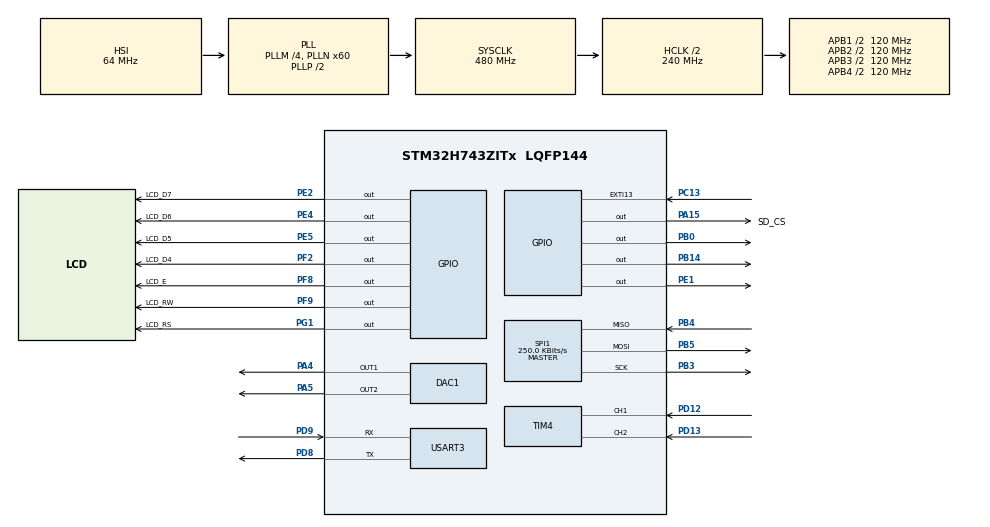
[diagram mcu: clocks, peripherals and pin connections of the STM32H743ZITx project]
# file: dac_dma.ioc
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DAC1.DAC_Channel-DAC_OUT1=DAC_CHANNEL_1
DAC1.DAC_Channel-DAC_OUT2=DAC_CHANNEL_2
DAC1.DAC_Trigger-DAC_OUT1=DAC_TRIGGER_T6_TRGO
DAC1.DAC_Trigger-DAC_OUT2=DAC_TRIGGER_T6_TRGO
Dma.DAC1_CH1.0.Direction=DMA_MEMORY_TO_PERIPH
Dma.DAC1_CH1.0.EventEnable=DISABLE
Dma.DAC1_CH1.0.FIFOMode=DMA_FIFOMODE_DISABLE
Dma.DAC1_CH1.0.Instance=DMA1_Stream0
Dma.DAC1_CH1.0.MemDataAlignment=DMA_MDATAALIGN_HALFWORD
Dma.DAC1_CH1.0.MemInc=DMA_MINC_ENABLE
Dma.DAC1_CH1.0.Mode=DMA_NORMAL
Dma.DAC1_CH1.0.PeriphDataAlignment=DMA_PDATAALIGN_HALFWORD
Dma.DAC1_CH1.0.PeriphInc=DMA_PINC_DISABLE
Dma.DAC1_CH1.0.Polarity=HAL_DMAMUX_REQ_GEN_RISING
Dma.DAC1_CH1.0.Priority=DMA_PRIORITY_VERY_HIGH
Dma.DAC1_CH1.0.RequestNumber=1
Dma.DAC1_CH1.0.SignalID=NONE
Dma.DAC1_CH1.0.SyncEnable=DISABLE
Dma.DAC1_CH1.0.SyncPolarity=HAL_DMAMUX_SYNC_NO_EVENT
Dma.DAC1_CH1.0.SyncRequestNumber=1
Dma.DAC1_CH1.0.SyncSignalID=NONE
Dma.Request0=DAC1_CH1
FATFS._USE_LFN=1
Mcu.Family=STM32H7
Mcu.Name=STM32H743ZITx
Mcu.Package=LQFP144
NVIC.DMA1_Stream0_IRQn=true\:0\:0\:false\:false\:true\:false\:true
NVIC.EXTI15_10_IRQn=true\:2\:0\:true\:false\:true\:true\:true
NVIC.PriorityGroup=NVIC_PRIORITYGROUP_4
NVIC.TIM4_IRQn=true\:1\:0\:true\:false\:true\:true\:true
NVIC.TIM6_DAC_IRQn=true\:0\:0\:false\:false\:true\:true\:true
PA15\ (JTDI).GPIO_Label=SD_CS
PA15\ (JTDI).Signal=GPIO_Output
PA4.Signal=COMP_DAC11_group
PA5.Signal=COMP_DAC12_group
PB0.Signal=GPIO_Output
PB14.Signal=GPIO_Output
PB3\ (JTDO/TRACESWO).GPIO_PuPd=GPIO_NOPULL
PB3\ (JTDO/TRACESWO).GPIO_Speed=GPIO_SPEED_FREQ_VERY_HIGH
PB3\ (JTDO/TRACESWO).Mode=Full_Duplex_Master
PB3\ (JTDO/TRACESWO).Signal=SPI1_SCK
PB4\ (NJTRST).GPIO_PuPd=GPIO_NOPULL
PB4\ (NJTRST).GPIO_Speed=GPIO_SPEED_FREQ_VERY_HIGH
PB4\ (NJTRST).Mode=Full_Duplex_Master
PB4\ (NJTRST).Signal=SPI1_MISO
PB5.GPIO_PuPd=GPIO_NOPULL
PB5.GPIO_Speed=GPIO_SPEED_FREQ_VERY_HIGH
PB5.Mode=Full_Duplex_Master
PB5.Signal=SPI1_MOSI
PC13.Signal=GPXTI13
PD12.GPIO_PuPd=GPIO_PULLUP
PD12.Signal=S_TIM4_CH1
PD13.GPIO_PuPd=GPIO_PULLUP
PD13.Signal=S_TIM4_CH2
PD8.Mode=Asynchronous
PD8.Signal=USART3_TX
PD9.Mode=Asynchronous
PD9.Signal=USART3_RX
PE1.Signal=GPIO_Output
PE2.GPIO_Label=LCD_D7
PE2.Signal=GPIO_Output
PE4.GPIO_Label=LCD_D6
PE4.Signal=GPIO_Output
PE5.GPIO_Label=LCD_D5
PE5.Signal=GPIO_Output
PF2.GPIO_Label=LCD_D4
PF2.Signal=GPIO_Output
PF8.GPIO_Label=LCD_E
PF8.Signal=GPIO_Output
PF9.GPIO_Label=LCD_RW
PF9.Signal=GPIO_Output
PG1.GPIO_Label=LCD_RS
PG1.Signal=GPIO_Output
ProjectManager.HeapSize=0x200
ProjectManager.StackSize=0x400
ProjectManager.TargetToolchain=STM32CubeIDE
RCC.ADCFreq_Value=129000000
RCC.APB1Freq_Value=120000000
RCC.APB2Freq_Value=120000000
RCC.APB3Freq_Value=120000000
RCC.APB4Freq_Value=120000000
RCC.CortexFreq_Value=480000000
RCC.D1PPRE=RCC_APB3_DIV2
RCC.D2PPRE1=RCC_APB1_DIV2
RCC.D2PPRE2=RCC_APB2_DIV2
RCC.D3PPRE=RCC_APB4_DIV2
RCC.DIVM1=4
RCC.DIVN1=60
RCC.DIVQ1=16
RCC.HCLKFreq_Value=240000000
RCC.HPRE=RCC_HCLK_DIV2
RCC.PLL2FRACN=0
RCC.PLL3FRACN=0
RCC.PLLFRACN=0
RCC.PWR_Regulator_Voltage_Scale=PWR_REGULATOR_VOLTAGE_SCALE0
RCC.SPI123CLockSelection=RCC_SPI123CLKSOURCE_CLKP
RCC.SYSCLKFreq_VALUE=480000000
RCC.SYSCLKSource=RCC_SYSCLKSOURCE_PLLCLK
RCC.USBFreq_Value=60000000
SH.COMP_DAC11_group.0=DAC1_OUT1,DAC_OUT1
SH.COMP_DAC12_group.0=DAC1_OUT2,DAC_OUT2
SH.S_TIM4_CH1.0=TIM4_CH1,Encoder_Interface
SH.S_TIM4_CH2.0=TIM4_CH2,Encoder_Interface
SPI1.BaudRatePrescaler=SPI_BAUDRATEPRESCALER_256
SPI1.CLKPolarity=SPI_POLARITY_LOW
SPI1.CalculateBaudRate=250.0 KBits/s
SPI1.DataSize=SPI_DATASIZE_8BIT
SPI1.Direction=SPI_DIRECTION_2LINES
SPI1.Mode=SPI_MODE_MASTER
SPI1.VirtualType=VM_MASTER
TIM4.IC1Filter=10
TIM4.IC1Polarity=TIM_ICPOLARITY_FALLING
TIM4.IC2Filter=10
TIM4.IC2Polarity=TIM_ICPOLARITY_FALLING
TIM6.Period=5441
TIM6.Prescaler=0
TIM6.TIM_MasterOutputTrigger=TIM_TRGO_UPDATE
TIM7.Prescaler=240
USART3.VirtualMode-Asynchronous=VM_ASYNC
VP_FATFS_VS_Generic.Mode=User_defined
VP_TIM6_VS_ClockSourceINT.Mode=Enable_Timer
VP_TIM7_VS_ClockSourceINT.Mode=Enable_Timer
board=custom

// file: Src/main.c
/* USER CODE BEGIN Header */
/**
  ******************************************************************************
  * @file           : main.c
  * @brief          : Main program body
  ******************************************************************************
  * @attention
  *
  * Copyright (c) 2022 STMicroelectronics.
  * All rights reserved.
  *
  * This software is licensed under terms that can be found in the LICENSE file
  * in the root directory of this software component.
  * If no LICENSE file comes with this software, it is provided AS-IS.
  *
  ******************************************************************************
  */
/* USER CODE END Header */
#include "main.h"
#include "dac.h"
#include "dma.h"
#include "fatfs.h"
#include "gpio.h"
#include "spi.h"
#include "stm32h7xx_hal.h"
#include "tim.h"
#include "usart.h"

/* USER CODE BEGIN Includes */
#include <audio_player.h>
#include <lcd.h>
#include <stdarg.h>
#include <stdint.h>
#include <stdio.h>
#include <string.h>

/* USER CODE END Includes */

/* USER CODE BEGIN PV */
#define max_files 1024

static FILINFO files[max_files];
static uint16_t last_encoder_val = 0;
static unsigned int selected_file = 0;
static unsigned int file_count = 0;

/* USER CODE END PV */

void SystemClock_Config(void);
void PeriphCommonClock_Config(void);

/* USER CODE BEGIN 0 */

void myprintf(const char* fmt, ...)
{
    static char buffer[256];
    va_list args;
    va_start(args, fmt);
    vsnprintf(buffer, sizeof(buffer), fmt, args);
    va_end(args);

    unsigned int len = strlen(buffer);
    HAL_UART_Transmit(&huart3, (uint8_t*)buffer, len, -1);
}

void display_msg(const char* line_1, const char* line_2)
{
    LCD_clear();
    LCD_position(1, 1);
    LCD_write_text(line_1, strlen(line_1));
    LCD_position(1, 2);
    LCD_write_text(line_2, strlen(line_2));
}

void display_ui()
{
    FILINFO file = files[selected_file];
    char line_1[16];
    char line_2[16];

    snprintf(line_1, 16, "%s", file.fname);

    if (player_get_state() == PSTATUS_PLAYING) {
        uint32_t filled_squares = (uint32_t)(player_get_progress() * 16);
        int i = 0;

        for (int i; i < 16; i++) {
            if (i <= filled_squares) {
                line_2[i] = '#';
            } else {
                line_2[i] = '-';
            }
        }
    } else {
        line_2[0] = '\0';
    }
    display_msg(line_1, line_2);
}

int mount_sd(FATFS* FatFs, DIR* dir)
{
    FRESULT fres = FR_OK; //Result after operations

    fres = f_mount(FatFs, "", 1); //1=mount now
    if (fres != FR_OK) {
        myprintf("f_mount error (%i)\r\n", fres);
        return 0;
    }

    fres = f_opendir(dir, "/");
    if (fres != FR_OK) {
        myprintf("Error opening directory\r\n");
        return 0;
    }

    return 1;
}

uint32_t enumerate_files(DIR* dir)
{
    FRESULT fres = FR_OK;

    file_count = 0;
    while (file_count < max_files) {
        FILINFO fnfo;
        fres = f_readdir(
            dir,
            &fnfo);

        if (fres != FR_OK || fnfo.fname[0] == 0) {
            break;
        }
        //filter to save only wav files
        char* pos = strstr(fnfo.fname, ".wav");

        if (pos == NULL) {
            continue;
        }

        files[file_count] = fnfo;
        file_count++;
    }

    return file_count;
}

void enc_up()
{
    selected_file++;
    if (selected_file >= file_count) {
        selected_file = file_count - 1;
    }
}

void enc_down()
{
    selected_file--;
    if (selected_file >= file_count) {
        selected_file = 0;
    }
}

void handle_encoder_input()
{
    int enc_val = TIM4->CNT;
    if (enc_val > last_encoder_val) {
        enc_up();
    } else if (enc_val < last_encoder_val) {
        enc_down();
    }

    last_encoder_val = enc_val;
    display_ui();
}

void start_player(FILINFO file)
{
    FRESULT fres = FR_OK;

    myprintf("Opening audio file...");
    int result = player_loadfile(file);
    if (result != PLAYER_OK) {
        if (result == PLAYER_FS_ERROR) {
            display_msg("FS ERR RESTART", "DEVICE");
            Error_Handler();
        }
        display_msg("ERR OPEN.FILE", "UNSUPP FMT");
        return;
    }
    player_play();
    display_ui();
}

void button_handler()
{
    if (player_get_state() != PSTATUS_STOPPED) {
        player_stop();
        return;
    }

    start_player(files[selected_file]);
}

void HAL_GPIO_EXTI_Callback(uint16_t GPIO_Pin)
{
    if (GPIO_Pin == GPIO_PIN_13) {
        button_handler();
    }
}

void delay_us(uint16_t us)
{
    htim7.Instance->CNT = 0;
    while (htim7.Instance->CNT <= us) {
        //wait
    }
}

void HAL_DAC_ConvCpltCallbackCh1(DAC_HandleTypeDef* hdac)
{
    player_dac_dma_callback();
}

/* USER CODE END 0 */

int main(void)
{

    /* MCU Configuration--------------------------------------------------------*/

    /* Reset of all peripherals, Initializes the Flash interface and the Systick. */
    HAL_Init();

    /* Configure the system clock */
    SystemClock_Config();

    /* Configure the peripherals common clocks */
    PeriphCommonClock_Config();

    /* Initialize all configured peripherals */
    MX_GPIO_Init();
    MX_TIM6_Init();
    MX_DMA_Init();
    MX_DAC1_Init();
    MX_SPI1_Init();
    MX_USART3_UART_Init();
    MX_FATFS_Init();
    MX_TIM4_Init();
    MX_TIM7_Init();
    /* USER CODE BEGIN 2 */

    HAL_TIM_Base_Start(&htim7); // Delay Timer
    HAL_TIM_Encoder_Start_IT(&htim4, TIM_CHANNEL_ALL);

    LCD_init(delay_us);

    display_msg("WAV PLAYER", "loading...");

    //DAC timer is clocked at 240MHz
    player_init(&hdac1, &htim6, 240000000);

    FATFS FatFs; //Fatfs handle
    FIL fil; //File handle
    DIR dir;

    //Give SD card some time to settle
    HAL_Delay(2000);

    int res = mount_sd(&FatFs, &dir);
    if (!res) {
        display_msg("SD ERROR", "RESTART DEVICE");
        Error_Handler();
    }

    enumerate_files(&dir);
    if (file_count == 0) {
        display_msg("No WAV files", "found on SD");
        Error_Handler();
    }

    display_ui();

    /* USER CODE END 2 */

    /* Infinite loop */
    /* USER CODE BEGIN WHILE */
    while (1) {
        display_ui();
        HAL_Delay(1000);
        /* USER CODE END WHILE */

    }
}

void SystemClock_Config(void)
{
    RCC_OscInitTypeDef RCC_OscInitStruct = { 0 };
    RCC_ClkInitTypeDef RCC_ClkInitStruct = { 0 };

    /** Supply configuration update enable
  */
    HAL_PWREx_ConfigSupply(PWR_LDO_SUPPLY);
    /** Configure the main internal regulator output voltage
  */
    __HAL_PWR_VOLTAGESCALING_CONFIG(PWR_REGULATOR_VOLTAGE_SCALE0);

    while (!__HAL_PWR_GET_FLAG(PWR_FLAG_VOSRDY)) { }
    /** Initializes the RCC Oscillators according to the specified parameters
  * in the RCC_OscInitTypeDef structure.
  */
    RCC_OscInitStruct.OscillatorType = RCC_OSCILLATORTYPE_HSI;
    RCC_OscInitStruct.HSIState = RCC_HSI_DIV1;
    RCC_OscInitStruct.HSICalibrationValue = RCC_HSICALIBRATION_DEFAULT;
    RCC_OscInitStruct.PLL.PLLState = RCC_PLL_ON;
    RCC_OscInitStruct.PLL.PLLSource = RCC_PLLSOURCE_HSI;
    RCC_OscInitStruct.PLL.PLLM = 4;
    RCC_OscInitStruct.PLL.PLLN = 60;
    RCC_OscInitStruct.PLL.PLLP = 2;
    RCC_OscInitStruct.PLL.PLLQ = 16;
    RCC_OscInitStruct.PLL.PLLR = 2;
    RCC_OscInitStruct.PLL.PLLRGE = RCC_PLL1VCIRANGE_3;
    RCC_OscInitStruct.PLL.PLLVCOSEL = RCC_PLL1VCOWIDE;
    RCC_OscInitStruct.PLL.PLLFRACN = 0;
    if (HAL_RCC_OscConfig(&RCC_OscInitStruct) != HAL_OK) {
        Error_Handler();
    }
    /** Initializes the CPU, AHB and APB buses clocks
  */
    RCC_ClkInitStruct.ClockType = RCC_CLOCKTYPE_HCLK | RCC_CLOCKTYPE_SYSCLK
        | RCC_CLOCKTYPE_PCLK1 | RCC_CLOCKTYPE_PCLK2
        | RCC_CLOCKTYPE_D3PCLK1 | RCC_CLOCKTYPE_D1PCLK1;
    RCC_ClkInitStruct.SYSCLKSource = RCC_SYSCLKSOURCE_PLLCLK;
    RCC_ClkInitStruct.SYSCLKDivider = RCC_SYSCLK_DIV1;
    RCC_ClkInitStruct.AHBCLKDivider = RCC_HCLK_DIV2;
    RCC_ClkInitStruct.APB3CLKDivider = RCC_APB3_DIV2;
    RCC_ClkInitStruct.APB1CLKDivider = RCC_APB1_DIV2;
    RCC_ClkInitStruct.APB2CLKDivider = RCC_APB2_DIV2;
    RCC_ClkInitStruct.APB4CLKDivider = RCC_APB4_DIV2;

    if (HAL_RCC_ClockConfig(&RCC_ClkInitStruct, FLASH_LATENCY_4) != HAL_OK) {
        Error_Handler();
    }
}

void PeriphCommonClock_Config(void)
{
    RCC_PeriphCLKInitTypeDef PeriphClkInitStruct = { 0 };

    /** Initializes the peripherals clock
  */
    PeriphClkInitStruct.PeriphClockSelection = RCC_PERIPHCLK_CKPER;
    PeriphClkInitStruct.CkperClockSelection = RCC_CLKPSOURCE_HSI;
    if (HAL_RCCEx_PeriphCLKConfig(&PeriphClkInitStruct) != HAL_OK) {
        Error_Handler();
    }
}

void Error_Handler(void)
{
    __disable_irq();
    while (1) {
    }
}
